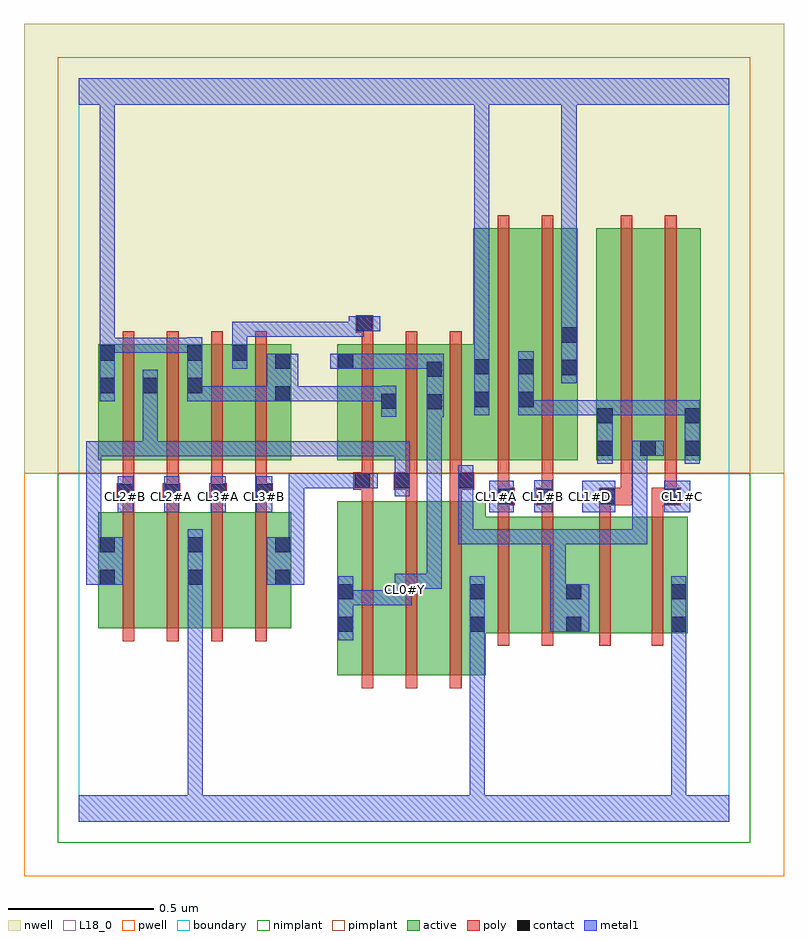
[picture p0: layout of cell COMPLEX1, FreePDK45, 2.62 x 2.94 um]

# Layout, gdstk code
import gdstk
lib = gdstk.Library(unit=1e-6, precision=1e-09)
def R(c, l, rs):  # rectangles x0, y0, x1, y1
    for r in rs: c.add(gdstk.rectangle(r[:2], r[2:], *l))
def A(c, l, x, y, w, h, nx, ny, dx, dy):  # array of equal rectangles
    R(c, l, [(x+i*dx, y+j*dy, x+i*dx+w, y+j*dy+h) for i in range(nx) for j in range(ny)])
active = (1, 0)
pwell = (2, 0)
nwell = (3, 0)
nimplant = (4, 0)
pimplant = (5, 0)
poly = (9, 0)
contact = (10, 0)
metal1 = (11, 0)
L18_0 = (18, 0)
boundary = (235, 0)

complex1 = lib.new_cell('COMPLEX1')
R(complex1, active, [(0.89,0.504,1.07,1.104), (0.89,0.504,0.95,1.104), (1.07,0.504,1.222,1.104), (1.222,0.504,1.402,1.104), (1.342,0.504,1.402,1.05), (1.342,0.65,1.538,1.05), (1.538,0.65,1.734,1.05), (1.674,0.65,1.888,1.05), (1.674,0.65,1.734,0.822), (1.888,0.65,2.096,1.05), (2.036,0.65,2.096,1.05), (0.068,0.666,0.248,1.066), (0.248,0.666,0.432,1.066), (0.372,0.666,0.552,1.066), (0.552,0.666,0.732,1.066), (0.672,0.666,0.732,1.066), (0.068,0.756,0.128,1.066), (0.372,0.756,0.432,0.984), (0.068,1.244,0.128,1.644), (0.068,1.244,0.276,1.644), (0.216,1.244,0.276,1.644), (0.216,1.244,0.43,1.644), (0.37,1.244,0.43,1.644), (0.37,1.244,0.584,1.644), (0.524,1.244,0.732,1.644), (0.672,1.244,0.732,1.644), (0.89,1.244,0.95,1.644), (0.89,1.244,1.098,1.644), (1.038,1.244,1.254,1.644), (1.194,1.244,1.254,1.644), (1.194,1.244,1.418,1.644), (1.358,1.244,1.418,1.644), (1.358,1.244,1.57,2.044), (1.51,1.244,1.57,2.044), (1.51,1.244,1.718,2.044), (1.658,1.244,1.718,2.044), (1.782,1.244,1.842,2.044), (1.782,1.244,1.99,2.044), (1.93,1.244,1.99,2.044), (1.93,1.244,2.142,2.044), (2.082,1.244,2.142,2.044), (1.038,1.418,1.098,1.644), (0.524,1.476,0.584,1.644)])
R(complex1, pwell, [(-0.188,-0.188,2.428,1.2)])
R(complex1, nwell, [(-0.188,1.2,2.428,2.748)])
R(complex1, nimplant, [(-0.072,-0.072,2.312,1.2)])
R(complex1, pimplant, [(-0.072,1.2,2.312,2.632)])
A(complex1, poly, 0.974, 0.46, 0.04, 0.688, 3, 1, 0.152, 0)
A(complex1, poly, 0.152, 0.622, 0.04, 0.488, 4, 2, 0.152, 0.578)
A(complex1, poly, 0.152, 1.07, 0.04, 0.076, 4, 1, 0.152, 0)
A(complex1, poly, 0.974, 1.108, 0.04, 0.076, 3, 2, 0.152, 0.056)
A(complex1, poly, 0.152, 1.126, 0.04, 0.114, 4, 1, 0.152, 0)
A(complex1, poly, 0.974, 1.2, 0.04, 0.488, 3, 1, 0.152, 0)
R(complex1, poly, [(1.442,0.606,1.482,1.094), (1.594,0.606,1.634,1.094), (1.792,0.606,1.832,1.094), (1.972,0.606,2.012,1.094), (1.442,1.054,1.482,1.13), (1.594,1.054,1.634,1.13), (1.792,1.054,1.832,1.13), (1.972,1.054,2.012,1.13), (1.442,1.09,1.482,1.13), (1.442,1.09,1.482,1.13), (1.442,1.09,1.502,1.15), (1.574,1.09,1.634,1.15), (1.594,1.09,1.634,1.13), (1.594,1.09,1.634,1.13), (1.792,1.09,1.832,1.13), (1.792,1.09,1.832,1.13), (1.792,1.09,1.906,1.15), (1.972,1.09,2.072,1.15), (0.132,1.106,0.192,1.166), (0.29,1.106,0.35,1.166), (0.45,1.106,0.51,1.166), (0.608,1.106,0.668,1.166), (1.442,1.11,1.482,1.24), (1.594,1.11,1.634,1.24), (1.866,1.11,1.906,1.24), (2.018,1.11,2.058,1.24), (2.018,1.11,2.058,1.15), (2.018,1.11,2.058,1.15), (0.152,1.126,0.192,1.166), (0.152,1.126,0.192,1.166), (0.304,1.126,0.344,1.166), (0.304,1.126,0.344,1.166), (0.456,1.126,0.496,1.166), (0.456,1.126,0.496,1.166), (0.608,1.126,0.648,1.166), (0.608,1.126,0.648,1.166), (0.946,1.144,1.014,1.204), (1.084,1.144,1.166,1.204), (1.126,1.144,1.166,1.184), (1.126,1.144,1.166,1.184), (1.278,1.144,1.362,1.204), (0.974,1.164,1.014,1.204), (0.974,1.164,1.014,1.204), (1.278,1.164,1.318,1.204), (1.278,1.164,1.318,1.204), (1.442,1.2,1.482,2.088), (1.594,1.2,1.634,2.088), (1.866,1.2,1.906,2.088), (2.018,1.2,2.058,2.088), (0.974,1.648,1.014,1.724), (0.954,1.684,1.014,1.744)])
R(complex1, contact, [(0.894,0.654,0.946,0.706), (1.346,0.654,1.398,0.706), (1.678,0.654,1.73,0.706), (2.04,0.654,2.092,0.706), (0.894,0.766,0.946,0.818), (1.346,0.766,1.398,0.818), (1.678,0.766,1.73,0.818), (2.04,0.766,2.092,0.818), (0.072,0.816,0.124,0.868), (0.376,0.816,0.428,0.868), (0.676,0.816,0.728,0.868), (0.072,0.928,0.124,0.98), (0.376,0.928,0.428,0.98), (0.676,0.928,0.728,0.98), (1.446,1.094,1.498,1.146), (1.578,1.094,1.63,1.146), (1.796,1.094,1.848,1.146), (2.016,1.094,2.068,1.146), (0.136,1.11,0.188,1.162), (0.294,1.11,0.346,1.162), (0.454,1.11,0.506,1.162), (0.612,1.11,0.664,1.162), (0.95,1.148,1.002,1.2), (1.088,1.148,1.14,1.2), (1.306,1.148,1.358,1.2), (1.786,1.26,1.838,1.312), (1.934,1.26,1.986,1.312), (2.086,1.26,2.138,1.312), (1.786,1.372,1.838,1.424), (2.086,1.372,2.138,1.424), (1.198,1.42,1.25,1.472), (1.042,1.422,1.094,1.474), (1.362,1.428,1.414,1.48), (1.514,1.428,1.566,1.48), (0.676,1.448,0.728,1.5), (0.072,1.476,0.124,1.528), (0.22,1.476,0.272,1.528), (0.374,1.476,0.426,1.528), (1.198,1.532,1.25,1.584), (1.662,1.538,1.714,1.59), (1.362,1.54,1.414,1.592), (1.514,1.54,1.566,1.592), (0.676,1.56,0.728,1.612), (0.894,1.56,0.946,1.612), (0.072,1.588,0.124,1.64), (0.374,1.588,0.426,1.64), (0.528,1.588,0.58,1.64), (1.662,1.65,1.714,1.702), (0.958,1.688,1.01,1.74)])
R(complex1, metal1, [(0,0,2.24,0.092), (0.376,0.04,0.428,0.092), (0.376,0.04,0.428,0.092), (0.376,0.04,0.428,0.092), (0.376,0.04,0.428,0.092), (0.376,0.04,0.428,0.092), (0.376,0.04,0.428,0.092), (0.376,0.04,0.428,0.092), (0.376,0.04,0.428,0.092), (0.376,0.04,0.428,0.092), (0.376,0.04,0.428,0.092), (0.376,0.04,0.428,0.092), (0.376,0.04,0.428,0.092), (0.376,0.04,0.428,0.84), (1.346,0.04,1.398,0.092), (1.346,0.04,1.398,0.092), (1.346,0.04,1.398,0.092), (1.346,0.04,1.398,0.092), (1.346,0.04,1.398,0.092), (1.346,0.04,1.398,0.092), (1.346,0.04,1.398,0.092), (1.346,0.04,1.398,0.092), (1.346,0.04,1.398,0.678), (2.04,0.04,2.092,0.678), (0.894,0.626,0.946,0.846), (1.346,0.626,1.398,0.846), (2.04,0.626,2.092,0.846), (2.04,0.626,2.092,0.678), (2.04,0.626,2.092,0.678), (2.04,0.626,2.092,0.678), (2.04,0.626,2.092,0.678), (2.04,0.626,2.092,0.678), (2.04,0.626,2.092,0.678), (2.04,0.626,2.092,0.678), (2.04,0.626,2.092,0.678), (2.04,0.626,2.092,0.678), (2.04,0.626,2.092,0.678), (2.04,0.626,2.092,0.678), (2.04,0.626,2.092,0.678), (1.624,0.654,1.758,0.818), (0.894,0.746,0.946,0.798), (0.894,0.746,0.946,0.798), (0.894,0.746,1.14,0.798), (1.088,0.746,1.14,0.798), (1.088,0.746,1.14,0.798), (1.088,0.746,1.146,0.854), (1.624,0.766,1.676,1.008), (0.376,0.788,0.428,1.008), (1.094,0.802,1.146,0.854), (1.094,0.802,1.146,0.854), (1.094,0.802,1.25,0.854), (1.198,0.802,1.25,0.854), (1.198,0.802,1.25,0.854), (1.198,0.802,1.25,0.854), (1.198,0.802,1.25,1.444), (0.026,0.816,0.152,0.98), (0.648,0.816,0.776,0.98), (0.026,0.928,0.078,1.31), (0.724,0.928,0.776,1.2), (1.306,0.956,1.468,1.008), (1.306,0.956,1.358,1.172), (1.416,0.956,1.468,1.008), (1.416,0.956,1.468,1.008), (1.416,0.956,1.468,1.008), (1.416,0.956,1.676,1.008), (1.624,0.956,1.676,1.008), (1.624,0.956,1.676,1.008), (1.624,0.956,1.676,1.008), (1.624,0.956,1.848,1.008), (1.796,0.956,1.848,1.008), (1.796,0.956,1.848,1.008), (1.796,0.956,1.848,1.008), (1.796,0.956,1.958,1.008), (1.906,0.956,1.958,1.008), (1.906,0.956,1.958,1.008), (1.906,0.956,1.958,1.008), (1.906,0.956,1.958,1.312), (0.134,1.066,0.188,1.19), (0.294,1.066,0.346,1.19), (0.454,1.066,0.506,1.19), (0.612,1.066,0.666,1.19), (1.414,1.066,1.498,1.174), (1.568,1.066,1.63,1.176), (1.734,1.066,1.848,1.174), (2.016,1.066,2.106,1.174), (1.088,1.12,1.14,1.228), (1.306,1.12,1.358,1.172), (1.306,1.12,1.358,1.228), (0.724,1.148,0.776,1.2), (0.724,1.148,0.836,1.2), (0.784,1.148,0.836,1.2), (0.784,1.148,0.974,1.2), (0.922,1.148,1.03,1.2), (1.088,1.176,1.14,1.228), (1.088,1.176,1.14,1.31), (1.786,1.232,1.838,1.452), (2.086,1.232,2.138,1.452), (0.026,1.258,0.078,1.31), (0.026,1.258,0.078,1.31), (0.026,1.258,0.078,1.31), (0.026,1.258,0.078,1.31), (0.026,1.258,0.078,1.31), (0.026,1.258,0.272,1.31), (0.22,1.258,0.272,1.31), (0.22,1.258,0.272,1.31), (0.22,1.258,0.272,1.31), (0.22,1.258,0.272,1.5), (0.22,1.258,0.426,1.31), (0.374,1.258,0.426,1.31), (0.374,1.258,0.426,1.31), (0.374,1.258,0.426,1.31), (0.374,1.258,0.58,1.31), (0.528,1.258,0.58,1.31), (0.528,1.258,0.726,1.31), (0.674,1.258,0.726,1.31), (0.674,1.258,0.726,1.31), (0.674,1.258,0.726,1.31), (0.674,1.258,0.946,1.31), (0.894,1.258,0.946,1.31), (0.894,1.258,0.946,1.31), (0.894,1.258,0.946,1.31), (0.894,1.258,1.14,1.31), (1.906,1.26,2.014,1.312), (1.198,1.392,1.256,1.612), (1.042,1.394,1.094,1.502), (1.362,1.4,1.414,1.62), (1.514,1.4,1.566,1.62), (1.514,1.4,1.676,1.452), (1.624,1.4,1.676,1.452), (1.624,1.4,1.676,1.452), (1.624,1.4,1.676,1.452), (1.624,1.4,1.838,1.452), (1.786,1.4,1.838,1.452), (1.786,1.4,1.838,1.452), (1.786,1.4,1.838,1.452), (1.786,1.4,1.838,1.452), (1.786,1.4,1.982,1.452), (1.93,1.4,2.138,1.452), (1.93,1.4,1.982,1.452), (1.93,1.4,1.982,1.452), (1.93,1.4,1.982,1.452), (0.072,1.448,0.124,1.668), (0.22,1.448,0.272,1.556), (0.374,1.448,0.426,1.668), (0.374,1.448,0.426,1.5), (0.374,1.448,0.426,1.5), (0.374,1.448,0.426,1.5), (0.374,1.448,0.426,1.5), (0.374,1.448,0.426,1.5), (0.374,1.448,0.426,1.5), (0.374,1.448,0.426,1.5), (0.374,1.448,0.426,1.5), (0.374,1.448,0.59,1.5), (0.538,1.448,0.59,1.5), (0.538,1.448,0.7,1.5), (0.648,1.448,0.7,1.5), (0.648,1.448,0.7,1.5), (0.648,1.448,0.756,1.612), (0.704,1.448,0.984,1.5), (0.932,1.448,0.984,1.5), (0.932,1.448,0.984,1.5), (0.932,1.448,0.984,1.5), (0.932,1.448,1.094,1.5), (1.662,1.51,1.714,1.73), (0.528,1.56,0.58,1.668), (0.866,1.56,0.974,1.612), (0.922,1.56,0.974,1.612), (0.922,1.56,0.974,1.612), (0.922,1.56,1.14,1.612), (1.088,1.56,1.14,1.612), (1.088,1.56,1.14,1.612), (1.088,1.56,1.14,1.612), (1.088,1.56,1.256,1.612), (1.204,1.56,1.256,1.612), (1.204,1.56,1.256,1.612), (1.362,1.568,1.414,2.52), (0.072,1.614,0.126,1.666), (0.074,1.614,0.126,1.666), (0.074,1.614,0.316,1.666), (0.264,1.614,0.316,1.666), (0.264,1.614,0.316,1.666), (0.264,1.614,0.316,1.666), (0.264,1.614,0.426,1.666), (0.072,1.616,0.124,2.52), (0.528,1.616,0.58,1.668), (0.528,1.616,0.58,1.722), (0.528,1.67,0.836,1.722), (0.784,1.67,0.836,1.722), (0.784,1.67,0.982,1.722), (0.93,1.67,0.982,1.722), (0.93,1.67,0.982,1.74), (1.662,1.678,1.714,2.52), (0.93,1.688,0.982,1.74), (0.93,1.688,0.982,1.74), (0.93,1.688,1.038,1.74), (0,2.468,2.24,2.56), (0.072,2.468,0.124,2.52), (0.072,2.468,0.124,2.52), (0.072,2.468,0.124,2.52), (0.072,2.468,0.124,2.52), (0.072,2.468,0.124,2.52), (0.072,2.468,0.124,2.52), (0.072,2.468,0.124,2.52), (0.072,2.468,0.124,2.52), (0.072,2.468,0.124,2.52), (0.072,2.468,0.124,2.52), (0.072,2.468,0.124,2.52), (0.072,2.468,0.124,2.52), (0.072,2.468,0.124,2.52), (0.072,2.468,0.124,2.52), (0.072,2.468,0.124,2.52), (0.072,2.468,0.124,2.52), (1.362,2.468,1.414,2.52), (1.362,2.468,1.414,2.52), (1.362,2.468,1.414,2.52), (1.362,2.468,1.414,2.52), (1.362,2.468,1.414,2.52), (1.362,2.468,1.414,2.52), (1.362,2.468,1.414,2.52), (1.362,2.468,1.414,2.52), (1.662,2.468,1.714,2.52), (1.662,2.468,1.714,2.52), (1.662,2.468,1.714,2.52), (1.662,2.468,1.714,2.52), (1.662,2.468,1.714,2.52), (1.662,2.468,1.714,2.52), (1.662,2.468,1.714,2.52), (1.662,2.468,1.714,2.52)])
A(complex1, L18_0, 0.134, 1.094, 0.052, 0.052, 4, 1, 0.16, 0)
A(complex1, L18_0, 1.414, 1.094, 0.052, 0.052, 3, 1, 0.16, 0)
R(complex1, L18_0, [(0,0,2.24,0.092), (0.376,0.04,0.428,0.092), (0.376,0.04,0.428,0.092), (0.376,0.04,0.428,0.092), (0.376,0.04,0.428,0.092), (0.376,0.04,0.428,0.092), (0.376,0.04,0.428,0.092), (0.376,0.04,0.428,0.092), (0.376,0.04,0.428,0.092), (0.376,0.04,0.428,0.092), (0.376,0.04,0.428,0.092), (0.376,0.04,0.428,0.092), (0.376,0.04,0.428,0.092), (0.376,0.04,0.428,0.84), (1.346,0.04,1.398,0.092), (1.346,0.04,1.398,0.092), (1.346,0.04,1.398,0.092), (1.346,0.04,1.398,0.092), (1.346,0.04,1.398,0.092), (1.346,0.04,1.398,0.092), (1.346,0.04,1.398,0.092), (1.346,0.04,1.398,0.092), (1.346,0.04,1.398,0.678), (2.04,0.04,2.092,0.678), (0.894,0.626,0.946,0.846), (1.346,0.626,1.398,0.846), (2.04,0.626,2.092,0.846), (2.04,0.626,2.092,0.678), (2.04,0.626,2.092,0.678), (2.04,0.626,2.092,0.678), (2.04,0.626,2.092,0.678), (2.04,0.626,2.092,0.678), (2.04,0.626,2.092,0.678), (2.04,0.626,2.092,0.678), (2.04,0.626,2.092,0.678), (2.04,0.626,2.092,0.678), (2.04,0.626,2.092,0.678), (2.04,0.626,2.092,0.678), (2.04,0.626,2.092,0.678), (0.894,0.746,0.946,0.798), (0.894,0.746,0.946,0.798), (0.894,0.746,1.14,0.798), (1.088,0.746,1.14,0.798), (1.088,0.746,1.14,0.798), (1.088,0.746,1.146,0.854), (1.094,0.774,1.146,0.826), (0.376,0.788,0.428,1.008), (1.094,0.802,1.146,0.854), (1.094,0.802,1.146,0.854), (1.094,0.802,1.25,0.854), (1.198,0.802,1.25,0.854), (1.198,0.802,1.25,0.854), (1.198,0.802,1.25,0.854), (1.198,0.802,1.25,1.444), (0.134,1.066,0.188,1.19), (0.294,1.066,0.346,1.19), (0.454,1.066,0.506,1.19), (0.612,1.066,0.666,1.19), (1.414,1.066,1.498,1.174), (1.568,1.066,1.63,1.176), (1.734,1.066,1.848,1.174), (2.016,1.066,2.106,1.174), (2.054,1.094,2.106,1.146), (1.198,1.392,1.256,1.612), (1.042,1.394,1.094,1.502), (1.362,1.4,1.414,1.62), (0.072,1.448,0.124,1.668), (0.374,1.448,0.426,1.668), (0.374,1.448,0.426,1.5), (0.374,1.448,0.426,1.5), (0.374,1.448,0.426,1.5), (0.374,1.448,0.426,1.5), (0.374,1.448,0.426,1.5), (0.374,1.448,0.426,1.5), (0.374,1.448,0.426,1.5), (0.374,1.448,0.426,1.5), (0.374,1.448,0.59,1.5), (0.538,1.448,0.59,1.5), (0.538,1.448,0.7,1.5), (0.648,1.448,0.7,1.5), (0.648,1.448,0.7,1.5), (0.648,1.448,0.756,1.612), (0.704,1.448,0.984,1.5), (0.932,1.448,0.984,1.5), (0.932,1.448,0.984,1.5), (0.932,1.448,0.984,1.5), (0.932,1.448,1.094,1.5), (1.662,1.51,1.714,1.73), (0.866,1.56,0.974,1.612), (0.922,1.56,0.974,1.612), (0.922,1.56,0.974,1.612), (0.922,1.56,1.14,1.612), (1.088,1.56,1.14,1.612), (1.088,1.56,1.14,1.612), (1.088,1.56,1.14,1.612), (1.088,1.56,1.256,1.612), (1.204,1.56,1.256,1.612), (1.204,1.56,1.256,1.612), (1.362,1.568,1.414,2.52), (0.072,1.614,0.126,1.666), (0.074,1.614,0.126,1.666), (0.074,1.614,0.316,1.666), (0.264,1.614,0.316,1.666), (0.264,1.614,0.316,1.666), (0.264,1.614,0.316,1.666), (0.264,1.614,0.426,1.666), (0.072,1.616,0.124,2.52), (1.662,1.678,1.714,2.52), (0,2.468,2.24,2.56), (0.072,2.468,0.124,2.52), (0.072,2.468,0.124,2.52), (0.072,2.468,0.124,2.52), (0.072,2.468,0.124,2.52), (0.072,2.468,0.124,2.52), (0.072,2.468,0.124,2.52), (0.072,2.468,0.124,2.52), (0.072,2.468,0.124,2.52), (0.072,2.468,0.124,2.52), (0.072,2.468,0.124,2.52), (0.072,2.468,0.124,2.52), (0.072,2.468,0.124,2.52), (0.072,2.468,0.124,2.52), (0.072,2.468,0.124,2.52), (0.072,2.468,0.124,2.52), (0.072,2.468,0.124,2.52), (1.362,2.468,1.414,2.52), (1.362,2.468,1.414,2.52), (1.362,2.468,1.414,2.52), (1.362,2.468,1.414,2.52), (1.362,2.468,1.414,2.52), (1.362,2.468,1.414,2.52), (1.362,2.468,1.414,2.52), (1.362,2.468,1.414,2.52), (1.662,2.468,1.714,2.52), (1.662,2.468,1.714,2.52), (1.662,2.468,1.714,2.52), (1.662,2.468,1.714,2.52), (1.662,2.468,1.714,2.52), (1.662,2.468,1.714,2.52), (1.662,2.468,1.714,2.52), (1.662,2.468,1.714,2.52)])
R(complex1, boundary, [(0,0,2.24,2.56)])
complex1.add(gdstk.Label('CL0#Y', (1.12,0.8), layer=11, texttype=0))
complex1.add(gdstk.Label('CL1#A', (1.44,1.12), layer=11, texttype=0))
complex1.add(gdstk.Label('CL1#B', (1.6,1.12), layer=11, texttype=0))
complex1.add(gdstk.Label('CL1#C', (2.08,1.12), layer=11, texttype=0))
complex1.add(gdstk.Label('CL1#D', (1.76,1.12), layer=11, texttype=0))
complex1.add(gdstk.Label('CL2#A', (0.32,1.12), layer=11, texttype=0))
complex1.add(gdstk.Label('CL2#B', (0.16,1.12), layer=11, texttype=0))
complex1.add(gdstk.Label('CL3#A', (0.48,1.12), layer=11, texttype=0))
complex1.add(gdstk.Label('CL3#B', (0.64,1.12), layer=11, texttype=0))

lib.write_gds('COMPLEX1.gds')
